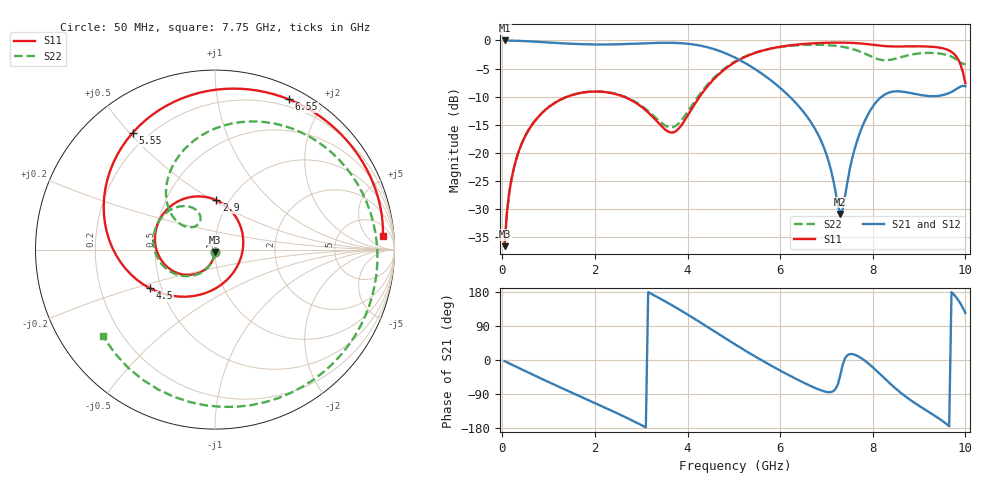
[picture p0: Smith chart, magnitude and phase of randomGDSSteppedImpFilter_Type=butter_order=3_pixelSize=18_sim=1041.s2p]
! freq	dB(S11)	phase(S11)	dB(S12)	phase(S12)
!  dB(S21)	phase(S21)	dB(S22)	phase(S22)
!S-par simulation data
#  GHz  S  DB  R 50
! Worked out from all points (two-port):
!   200 points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, 50 MHz to 10 GHz, reference 50 ohm
!   highest |S21| = 0.00 dB at 50 MHz (marker M1); lowest = -30.9 dB at 7.3 GHz (marker M2)
!   |S21| within 3 dB of the highest: start of sweep to 5.012 GHz
!   lowest |S11| = -36.6 dB at 50 MHz (marker M3), VSWR 1.03, Z = 49.9 - j1.47 ohm
!   |S11| at or under -10 dB: start of sweep to 1.409 GHz; 2.615 GHz to 4.264 GHz (1.649 GHz wide, 47.9 % of centre)
!   |S22| runs from -36.6 to -0.8 dB; largest |S21 - S12| = 0
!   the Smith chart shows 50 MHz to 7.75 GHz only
!   S11 on the Smith chart (normalised r, x): 50 MHz: 1.00, -0.03; 2.9 GHz: 0.87, +0.52; 4.5 GHz: 0.43, -0.23; 5.55 GHz: 0.14, +0.51; 6.55 GHz: 0.12, +1.60; 7.75 GHz: 12, +15
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0.05  -36.63 -92.8  -0.00 -3.0  -0.00 -3.0  -36.63 -92.7
0.2  -24.64 -102.3  -0.04 -11.9  -0.04 -11.9  -24.64 -101.6
0.5  -16.96 -120.9  -0.13 -29.5  -0.13 -29.5  -16.93 -119.1
1.75  -9.27 165.7  -0.68 -99.8  -0.68 -99.8  -9.24 173.7
2.9  -11.20 88.5  -0.57 -165.4  -0.57 -165.4  -11.07 121.1
3.4  -14.94 31.9  -0.43 162.7  -0.43 162.7  -14.42 115.0
4  -13.43 -87.6  -0.59 120.1  -0.59 120.1  -12.73 143.4
4.5  -7.50 -149.2  -1.37 81.9  -1.37 81.9  -7.24 128.8
5.05  -3.75 162.3  -3.16 39.5  -3.16 39.5  -3.63 93.3
5.55  -1.98 125.2  -5.61 2.9  -5.61 2.9  -1.94 57.3
6.1  -1.00 89.6  -9.18 -34.4  -9.18 -34.4  -1.06 17.4
6.55  -0.61 63.8  -13.22 -62.3  -13.22 -62.3  -0.79 -16.2
6.7  -0.52 55.8  -15.02 -70.9  -15.02 -70.9  -0.77 -27.9
7.3  -0.39 25.5  -30.90 -39.3  -30.90 -39.3  -1.07 -82.2
7.75  -0.55 4.7  -15.83 5.0  -15.83 5.0  -2.06 -142.3
8.05  -0.83 -7.6  -11.21 -24.8  -11.21 -24.8  -3.15 158.3
8.35  -1.05 -17.9  -9.29 -59.5  -9.29 -59.5  -3.49 88.5
8.6  -1.08 -26.1  -9.09 -86.0  -9.09 -86.0  -3.00 38.8
8.9  -1.04 -36.7  -9.51 -112.9  -9.51 -112.9  -2.43 -4.7
9.45  -1.30 -59.5  -9.83 -156.1  -9.83 -156.1  -2.34 -59.1
9.8  -2.81 -80.8  -8.68 165.5  -8.68 165.5  -3.34 -85.3
10  -7.62 -88.5  -8.16 123.8  -8.16 123.8  -4.23 -89.8
